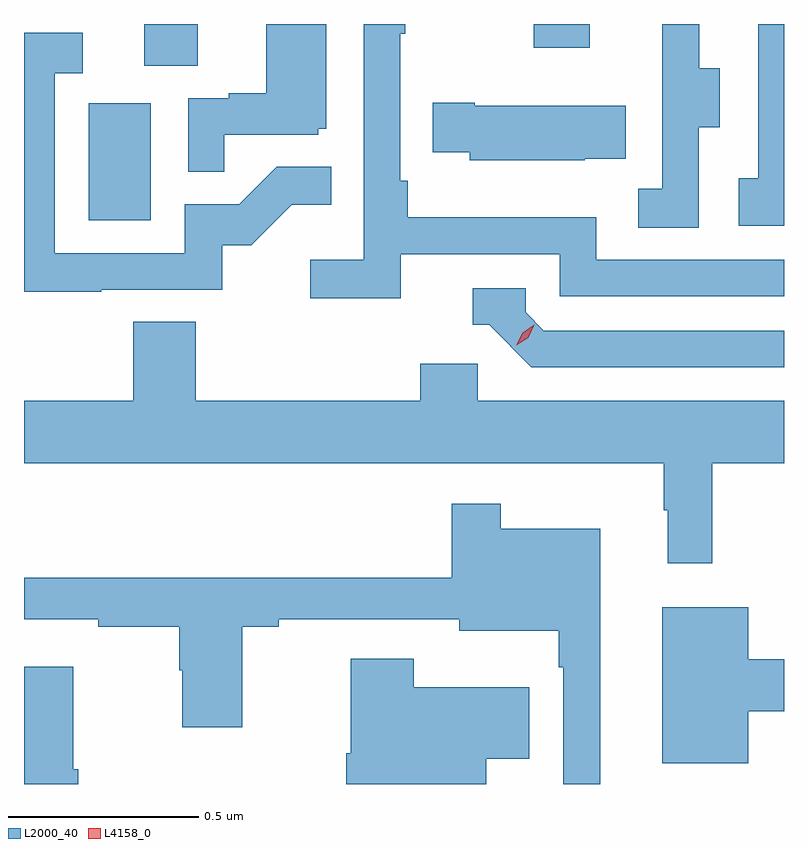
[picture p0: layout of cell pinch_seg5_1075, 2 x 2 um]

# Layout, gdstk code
import gdstk
lib = gdstk.Library(unit=1e-6, precision=1e-09)
def R(c, l, rs):  # rectangles x0, y0, x1, y1
    for r in rs: c.add(gdstk.rectangle(r[:2], r[2:], *l))
def P(c, l, *ps):  # polygons
    for p in ps: c.add(gdstk.Polygon(p, *l))
L2000_40 = (2000, 40)
L4158_0 = (4158, 0)

pinch_seg5_1075 = lib.new_cell('pinch_seg5_1075')
R(pinch_seg5_1075, L2000_40, [(875.498,858.732,875.662,859.039), (875.645,859.138,875.785,859.248), (876.67,859.185,876.817,859.248)])
P(pinch_seg5_1075, L2000_40, [(877.328,859.248),(877.26,859.248),(877.26,858.842),(877.209,858.842),(877.209,858.717),(877.328,858.717)],
  [(876.32,858.642),(876.738,858.642),(876.738,858.531),(877.328,858.531),(877.328,858.627),(876.834,858.627),(876.834,858.739),(876.338,858.739),(876.338,858.835),(876.318,858.835),(876.318,859.223),(876.331,859.223),(876.331,859.248),(876.222,859.248),(876.222,858.628),(876.081,858.628),(876.081,858.526),(876.32,858.526)],
  [(877.104,858.976),(877.159,858.976),(877.159,859.131),(877.105,859.131),(877.105,859.248),(877.007,859.248),(877.007,859.119),(877.008,859.119),(877.008,858.815),(876.945,858.815),(876.945,858.712),(877.104,858.712)],
  [(875.855,858.957),(876.102,858.957),(876.102,858.972),(876.124,858.972),(876.124,859.248),(875.966,859.248),(875.966,859.066),(875.867,859.066),(875.867,859.053),(875.76,859.053),(875.76,858.859),(875.855,858.859)],
  [(875.531,858.549),(875.85,858.549),(875.85,858.666),(875.926,858.666),(876.033,858.773),(876.137,858.773),(876.137,858.872),(875.993,858.872),(875.895,858.774),(875.751,858.774),(875.751,858.645),(875.409,858.645),(875.409,859.119),(875.482,859.119),(875.482,859.225),(875.328,859.225),(875.328,858.544),(875.531,858.544)],
  [(876.803,858.893),(876.911,858.893),(876.911,859.033),(876.514,859.033),(876.514,859.041),(876.403,859.041),(876.403,858.911),(876.501,858.911),(876.501,858.89),(876.803,858.89)],
  [(877.328,858.441),(876.696,858.441),(876.648,858.489),(876.648,858.552),(876.509,858.552),(876.509,858.456),(876.552,858.456),(876.663,858.345),(877.328,858.345)],
  [(877.139,858.092),(877.328,858.092),(877.328,858.256),(876.522,858.256),(876.522,858.354),(876.371,858.354),(876.371,858.256),(875.78,858.256),(875.78,858.464),(875.615,858.464),(875.615,858.256),(875.328,858.256),(875.328,858.092),(877.011,858.092),(877.011,857.969),(877.022,857.969),(877.022,857.829),(877.139,857.829)],
  [(876.844,857.92),(876.583,857.92),(876.583,857.986),(876.454,857.986),(876.454,857.791),(875.328,857.791),(875.328,857.682),(875.524,857.682),(875.524,857.662),(875.737,857.662),(875.737,857.547),(875.744,857.547),(875.744,857.397),(875.902,857.397),(875.902,857.662),(875.998,857.662),(875.998,857.682),(876.473,857.682),(876.473,857.651),(876.735,857.651),(876.735,857.555),(876.747,857.555),(876.747,857.248),(876.844,857.248)],
  [(877.234,857.44),(877.328,857.44),(877.328,857.576),(877.234,857.576),(877.234,857.713),(877.007,857.713),(877.007,857.303),(877.234,857.303)],
  [(876.544,857.315),(876.658,857.315),(876.658,857.503),(876.354,857.503),(876.354,857.578),(876.188,857.578),(876.188,857.329),(876.176,857.329),(876.176,857.248),(876.544,857.248)],
  [(875.471,857.287),(875.458,857.287),(875.458,857.556),(875.328,857.556),(875.328,857.248),(875.471,857.248)])
P(pinch_seg5_1075, L4158_0, [(876.624,858.403),(876.624,858.403),(876.64,858.436),(876.671,858.456),(876.671,858.456),(876.671,858.456),(876.655,858.423),(876.624,858.403)])

lib.write_gds('pinch_seg5_1075.gds')
